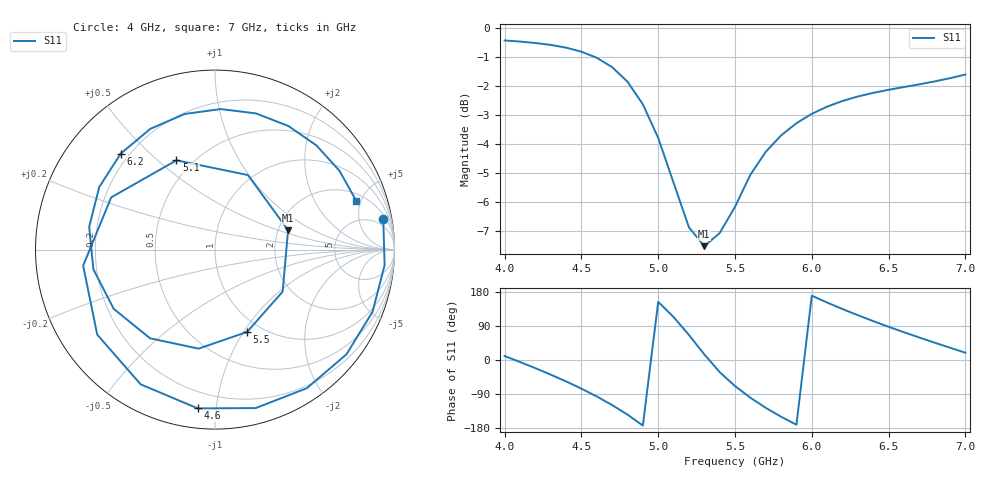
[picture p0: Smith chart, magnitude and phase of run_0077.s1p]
! Touchstone file exported from HFSS 2024.2.0
!  File:  C:/Users/wsak9/Desktop/Sim Fast/Widenad Patch/WP_AI_V1_sweep.aedt
!  Generated:  06:10:28 PM Oct 13, 2026
!  Design:  A1_model
!  Project:  WP_AI_V1_sweep
!  Setup:  Setup1
!  Solution:  Sweep
! Variables:
!  Air_gap = 2.73mm
!  Curve_Amp1 = 0.98
!  Curve_len1 = 1
!  Curve_pos = 11.12mm
!  Extra = 5.18mm
!  H_sub = 0.79mm
!  L_Patch = 18.24mm
!  L_Patch1 = 13.49mm
!  Sx = 3.88mm
!  Sy = 4.75mm
!  WS = 1.43mm
!  W_Patch = 17.1mm
!  W_Patch1 = 8.31mm
!Data is not renormalized
# GHz S MA
! Terminal data exported
! Port[1] = 1
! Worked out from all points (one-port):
!   31 points, 4 GHz to 7 GHz, reference per port
!   lowest |S11| = -7.5 dB at 5.3 GHz (marker M1), VSWR 2.46
!   |S11| at or under -10 dB: nowhere
!   S11 on the Smith chart (normalised r, x): 4 GHz: 3, +10; 4.6 GHz: 0.10, -0.89; 5.1 GHz: 0.41, +0.58; 5.5 GHz: 0.86, -1.04; 6.2 GHz: 0.17, +0.41; 7 GHz: 2.56, +4.55
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4  0.9532 10.4
4.1  0.949 -5.2
4.2  0.9437 -21.5
4.3  0.9365 -38.5
4.4  0.9264 -56.5
4.5  0.9117 -75.6
4.6  0.8899 -96.2
4.7  0.8574 -118.9
4.8  0.8093 -144.2
4.9  0.74 -173.0
5  0.6474 153.3
5.1  0.5419 113.4
5.2  0.4541 66.2
5.3  0.4213 14.9
5.4  0.4437 -31.8
5.5  0.4924 -68.7
5.6  0.5593 -99.4
5.7  0.6125 -126.2
5.8  0.6538 -149.7
5.9  0.6864 -170.8
6  0.7123 169.8
6.1  0.733 151.6
6.2  0.7497 134.5
6.3  0.7631 118.2
6.5  0.7837 87.7
6.7  0.8009 59.3
6.9  0.8207 32.4
7  0.8326 19.1
